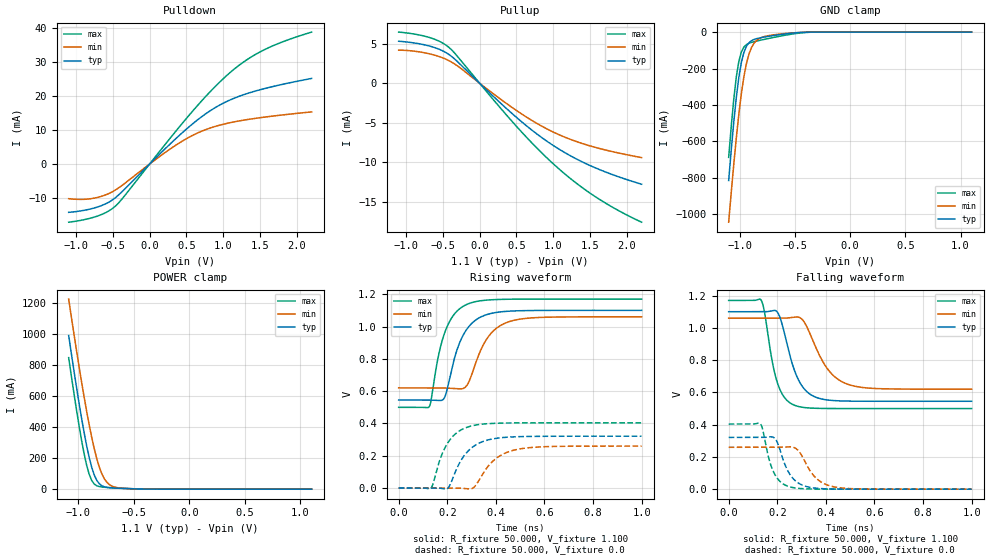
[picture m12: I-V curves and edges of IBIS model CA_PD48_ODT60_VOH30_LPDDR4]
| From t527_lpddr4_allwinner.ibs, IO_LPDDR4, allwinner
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|   Model CA_PD48_ODT60_VOH30_LPDDR4
[Model] CA_PD48_ODT60_VOH30_LPDDR4
Model_type 3-state
Polarity   Non-Inverting
Enable   Active-Low
C_comp   1.526pF   1.484pF   1.582pF
C_comp_pullup   0.535pF   0.516pF   0.557pF
C_comp_pulldown   0.794pF   0.774pF   0.827pF
[Temperature Range]   25.000   0.125k   -40.000
[Voltage Range]   1.100V   1.060V   1.170V
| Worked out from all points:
|   slope of the pulldown table from 0 to 0.165 V, typ, clamps not added: 46.8 ohm
|   slope of the pullup table from 0 to 0.165 V, typ, clamps not added: 112 ohm
|   GND clamp passes 1 mA (typ) near -0.41 V on its own axis
|   POWER clamp passes 1 mA (typ) near -0.43 V on its own axis
|   rising waveform, R_fixture 50.000, V_fixture 1.100: 20-80 % time 76.9ps typ, 87.4ps min, 68.5ps max; typ from 0.545 V to 1.1 V
|   rising waveform, R_fixture 50.000, V_fixture 0.0: 20-80 % time 83.4ps typ, 94.3ps min, 73.6ps max; typ from 0 V to 0.321 V
|   falling waveform, R_fixture 50.000, V_fixture 1.100: 20-80 % time 69.2ps typ, 96.1ps min, 52.4ps max; typ from 1.1 V to 0.545 V
|   falling waveform, R_fixture 50.000, V_fixture 0.0: 20-80 % time 57.6ps typ, 71.8ps min, 47.4ps max; typ from 0.321 V to 0 V
[Pulldown]
|Voltage   I(typ)   I(min)   I(max)
-1.1V     -14.21mA   -10.2mA    -17.11mA
-930mV    -13.77mA   -10.41mA   -16.54mA
-760mV    -12.98mA   -10.07mA   -15.66mA
-590mV    -11.62mA   -9.012mA   -14.22mA
-454mV    -9.707mA   -7.496mA   -12.16mA
396mV     8.264mA    6.092mA    10.71mA
668mV     13.26mA    9.28mA     17.62mA
940mV     17.19mA    11.35mA    23.85mA
1.212V    19.88mA    12.64mA    28.98mA
1.484V    21.74mA    13.56mA    32.77mA
1.79V     23.35mA    14.39mA    35.78mA
2.2V      25.16mA    15.32mA    38.79mA
[Pullup]
|Voltage   I(typ)   I(min)   I(max)
-1.1V     5.306mA    4.179mA    6.461mA
-690mV    4.719mA    3.734mA    5.799mA
-520mV    4.171mA    3.272mA    5.171mA
-418mV    3.636mA    2.855mA    4.533mA
-282mV    2.56mA     2.056mA    3.177mA
500mV     -4.31mA    -3.438mA   -5.438mA
772mV     -6.367mA   -5.04mA    -8.132mA
1.01V     -7.921mA   -6.207mA   -10.26mA
1.282V    -9.404mA   -7.256mA   -12.39mA
1.554V    -10.61mA   -8.054mA   -14.22mA
1.86V     -11.72mA   -8.754mA   -15.95mA
2.2V      -12.75mA   -9.393mA   -17.55mA
[GND_clamp]
|Voltage   I(typ)   I(min)   I(max)
-1.1V     -814.2mA   -1.043A    -687.2mA
-1.054V   -495mA     -726.6mA   -368.4mA
-1.031V   -359.8mA   -581.8mA   -246.6mA
-1.008V   -248.8mA   -450.8mA   -160.4mA
-985mV    -166.1mA   -337.2mA   -108.9mA
-962mV    -110.9mA   -243.9mA   -82mA
-939mV    -77.34mA   -172mA     -68.54mA
-893mV    -47.19mA   -84.42mA   -56.41mA
-847mV    -36.11mA   -45.88mA   -49.32mA
-709mV    -20.5mA    -16.45mA   -31.34mA
-364mV    -357.3uA   -448.4uA   -961.5uA
1.1V      0A         0A         0A
[POWER_clamp]
|Voltage   I(typ)   I(min)   I(max)
-1.085V   991.5mA    1.227A     848.5mA
-1.016V   664.1mA    901.8mA    518.1mA
-970mV    462mA      696.7mA    319.4mA
-924mV    282.7mA    505.5mA    156.2mA
-901mV    206.2mA    417.2mA    96.77mA
-855mV    91.54mA    261mA      33.12mA
-809mV    34.38mA    141.1mA    16.55mA
-763mV    15.18mA    65.46mA    12.33mA
-717mV    9.406mA    28.28mA    10.15mA
-625mV    5.459mA    7.413mA    6.616mA
-441mV    1.153mA    1.563mA    1.234mA
1.1V      0A         0A         0A
[Ramp]
| variable   typ   min   max
dV/dt_r   0.193/83.442p   0.156/94.342p   0.242/73.620p
dV/dt_f   0.333/69.271p   0.264/96.118p   0.402/52.552p
R_load = 50.000
[Rising Waveform]
R_fixture= 50.000
V_fixture= 1.100
V_fixture_min= 1.060
V_fixture_max= 1.170
|time   V(typ)   V(min)   V(max)
0s        544.9mV    620mV      499.8mV
126ps     544.9mV    620mV      504mV
162ps     542.1mV    620mV      806.3mV
184ps     549.3mV    619.9mV    937.5mV
197ps     596mV      618.9mV    991.3mV
239ps     850.5mV    614.4mV    1.094V
280ps     982.2mV    633.6mV    1.137V
362ps     1.074V     921.7mV    1.164V
442ps     1.094V     1.023V     1.169V
1ns       1.1V       1.06V      1.17V
[Rising Waveform]
R_fixture= 50.000
V_fixture= 0.0
V_fixture_min= 0.0
V_fixture_max= 0.0
|time   V(typ)   V(min)   V(max)
0s        2.227uV    55.36uV    160.8nV
131ps     339.6uV    62.8uV     -4.033mV
141ps     323.8uV    60.47uV    24.13mV
174ps     -1.692mV   38.26uV    192.6mV
202ps     -1.97mV    311.3uV    279.3mV
255ps     167mV      -453.8uV   358.3mV
296ps     243.5mV    -5.818mV   383mV
390ps     305mV      169.6mV    400.4mV
478ps     317.3mV    235.9mV    403.2mV
1ns       320.9mV    259.6mV    403.8mV
[Falling Waveform]
R_fixture= 50.000
V_fixture= 1.100
V_fixture_min= 1.060
V_fixture_max= 1.170
|time   V(typ)   V(min)   V(max)
0s        1.1V       1.06V      1.17V
134ps     1.1V       1.06V      1.171V
199ps     1.101V     1.06V      666.8mV
227ps     981.7mV    1.06V      573.9mV
267ps     752.7mV    1.066V     522.8mV
304ps     635.1mV    1.05V      507.6mV
339ps     584.8mV    948.9mV    502.6mV
404ps     553.5mV    751.7mV    500.2mV
481ps     546.3mV    655.7mV    499.8mV
1ns       544.9mV    620mV      499.8mV
[Falling Waveform]
R_fixture= 50.000
V_fixture= 0.0
V_fixture_min= 0.0
V_fixture_max= 0.0
|time   V(typ)   V(min)   V(max)
0s        320.9mV    259.6mV    403.8mV
131ps     320.6mV    259.6mV    404.5mV
166ps     324mV      259.7mV    186.6mV
185ps     320.5mV    259.5mV    105.7mV
214ps     230.2mV    260mV      44.21mV
254ps     87.16mV    262.6mV    13.29mV
290ps     34.98mV    233.2mV    4.511mV
361ps     5.75mV     66.56mV    535.7uV
427ps     1.075mV    16.38mV    74.08uV
1ns       2.233uV    55.43uV    163.7nV
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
